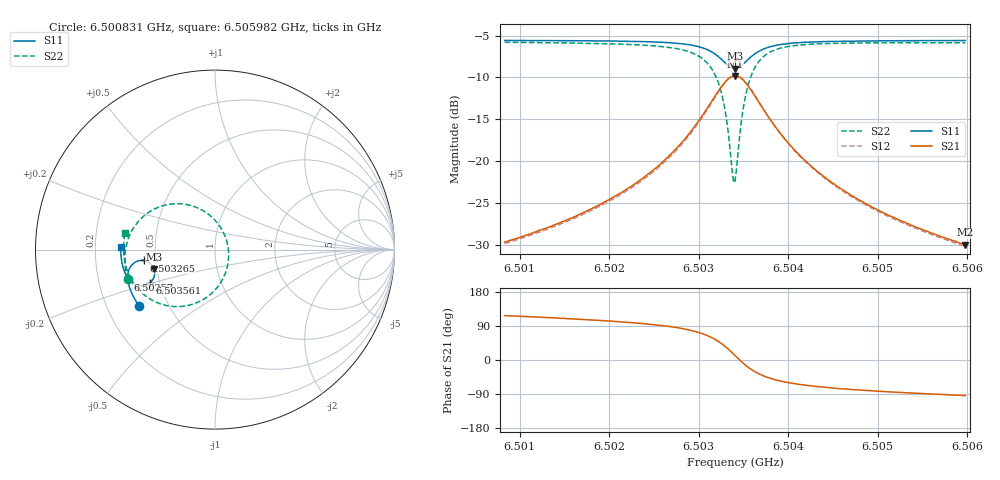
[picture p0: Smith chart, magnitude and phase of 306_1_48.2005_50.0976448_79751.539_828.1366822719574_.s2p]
#  HZ  S  RI  R  50.00
! Rohde & Schwarz Vector Network Analyzer
! Rohde-Schwarz,ZNB20-2Port,1311601062101988,3.16
! Created: UTC 3/20/2024, 11:49:46 AM
! freq[Hz]  re:S11  im:S11  re:S21  im:S21  re:S12  im:S12  re:S22  im:S22
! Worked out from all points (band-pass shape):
!   401 points, 6.500831 GHz to 6.505982 GHz, reference 50 ohm
!   highest |S21| = -9.80 dB at 6.503407 GHz (marker M1); lowest = -30.0 dB at 6.505982 GHz (marker M2)
!   |S21| within 3 dB of the highest: 6.503149 GHz to 6.503664 GHz (514.6 kHz wide, 0.00791 % of centre)
!   lowest |S11| = -9.0 dB at 6.503407 GHz (marker M3), VSWR 2.11, Z = 24.2 - j6.07 ohm
!   |S11| at or under -10 dB: nowhere
!   |S22| runs from -22.6 to -5.8 dB; largest |S21 - S12| = 0.011
!   S11 on the Smith chart (normalised r, x): 6.500831 GHz: 0.34, -0.30; 6.50257 GHz: 0.33, -0.15; 6.503265 GHz: 0.43, -0.06; 6.503561 GHz: 0.44, -0.20; 6.505982 GHz: 0.31, +0.01
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6.5008312e9  -0.4207 -0.3166  -0.0149 0.0291  -0.0133 0.0293  -0.4865 -0.1647
6.5016939e9  -0.4587 -0.2538  -0.0144 0.0465  -0.0121 0.0462  -0.5016 -0.0749
6.5021575e9  -0.4755 -0.2136  -0.0117 0.0647  -0.00901 0.0639  -0.4997 -0.0109
6.5025567e9  -0.4854 -0.1704  -0.003 0.0944  0.000567 0.0922  -0.4812 0.0662
6.5025695e9  -0.4857 -0.1688  -0.00254 0.0956  0.00105 0.0934  -0.48 0.0694
6.5028142e9  -0.4851 -0.1336  0.0157 0.1288  0.0194 0.125  -0.4418 0.1387
6.5029945e9  -0.4738 -0.1005  0.0499 0.1646  0.0533 0.1592  -0.3741 0.2044
6.5031619e9  -0.4394 -0.0675  0.127 0.1976  0.1283 0.1912  -0.2326 0.255
6.5032649e9  -0.3971 -0.0607  0.2117 0.1889  0.212 0.1835  -0.0855 0.2272
6.5033164e9  -0.3717 -0.0692  0.2594 0.1611  0.2603 0.1563  -0.00601 0.1702
6.5033808e9  -0.3455 -0.0952  0.3065 0.0982  0.3088 0.0931  0.0647 0.0493
6.5034065e9  -0.3392 -0.1097  0.3166 0.0665  0.3198 0.0606  0.0754 -0.0098
6.5034194e9  -0.3373 -0.1172  0.3192 0.0501  0.3224 0.0435  0.0759 -0.0401
6.5034966e9  -0.3434 -0.1613  0.3025 -0.0433  0.3042 -0.0533  0.0187 -0.2029
6.503561e9  -0.3643 -0.1868  0.2603 -0.0965  0.2589 -0.1075  -0.0761 -0.284
6.503664e9  -0.4031 -0.2016  0.1869 -0.132  0.1815 -0.1415  -0.2235 -0.3175
6.5038314e9  -0.4486 -0.1919  0.1068 -0.1293  0.0998 -0.1342  -0.3681 -0.2715
6.5040117e9  -0.4756 -0.1703  0.063 -0.1098  0.0569 -0.1119  -0.4389 -0.2076
6.5042692e9  -0.4962 -0.1404  0.0335 -0.086  0.0287 -0.0863  -0.4817 -0.1363
6.5046555e9  -0.5116 -0.1006  0.0147 -0.0632  0.0115 -0.0629  -0.5039 -0.0619
6.505132e9  -0.5211 -0.0569  0.00482 -0.0469  0.0027 -0.0464  -0.5098 0.00393
6.5059818e9  -0.5258 0.0145  -0.00219 -0.0316  -0.00338 -0.0308  -0.5015 0.0925
